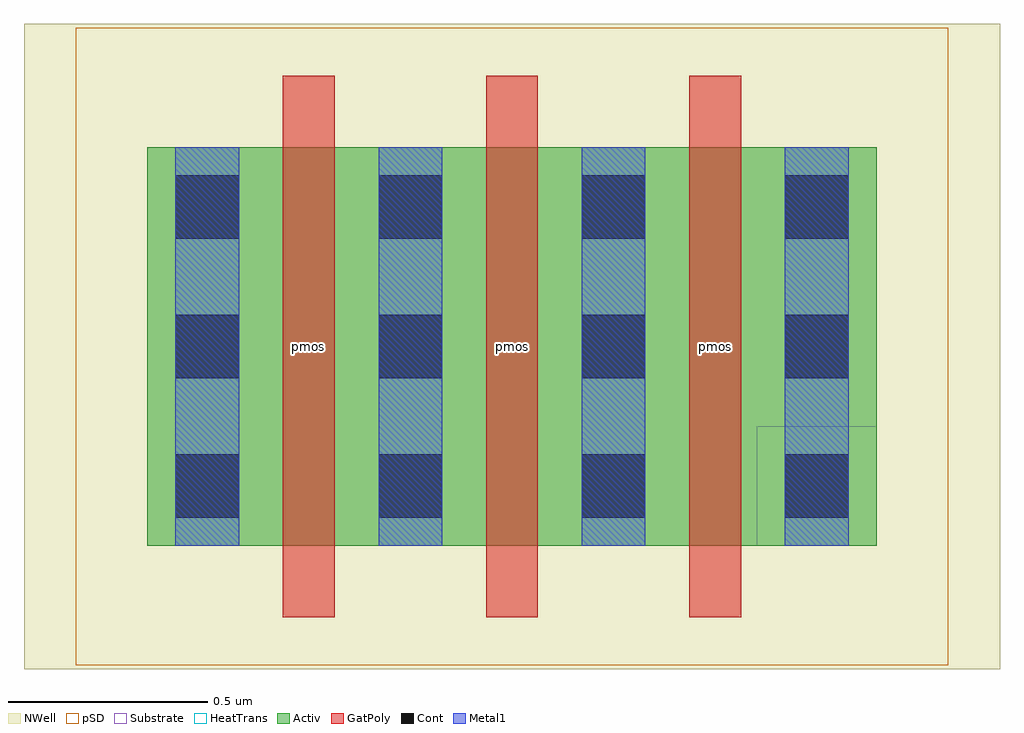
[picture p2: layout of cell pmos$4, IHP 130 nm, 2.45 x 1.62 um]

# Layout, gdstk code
import gdstk
lib = gdstk.Library(unit=1e-6, precision=1e-09)
def R(c, l, rs):  # rectangles x0, y0, x1, y1
    for r in rs: c.add(gdstk.rectangle(r[:2], r[2:], *l))
def A(c, l, x, y, w, h, nx, ny, dx, dy):  # array of equal rectangles
    R(c, l, [(x+i*dx, y+j*dy, x+i*dx+w, y+j*dy+h) for i in range(nx) for j in range(ny)])
Activ = (1, 0)
GatPoly = (5, 0)
Cont = (6, 0)
Metal1 = (8, 0)
pSD = (14, 0)
NWell = (31, 0)
Substrate = (40, 0)
HeatTrans = (51, 0)

pmos_4 = lib.new_cell('pmos$4')
A(pmos_4, Activ, 0, 0, 0.3, 0.3, 4, 1, 0.51, 0)
R(pmos_4, Activ, [(0,0,1.83,1)])
A(pmos_4, GatPoly, 0.34, -0.18, 0.13, 1.36, 3, 1, 0.51, 0)
R(pmos_4, GatPoly, [(0.34,-0.18,0.47,1.18)])
A(pmos_4, Cont, 0.07, 0.07, 0.16, 0.16, 4, 3, 0.51, 0.35)
A(pmos_4, Metal1, 0.58, 0, 0.16, 1, 3, 1, 0.51, 0)
R(pmos_4, Metal1, [(0.07,0,0.23,1), (0.07,0,0.23,1), (0.58,0,0.74,1)])
R(pmos_4, pSD, [(-0.18,-0.3,2.01,1.3)])
R(pmos_4, NWell, [(-0.31,-0.31,2.14,1.31)])
R(pmos_4, Substrate, [(1.53,0,1.83,0.3)])
A(pmos_4, HeatTrans, 0.34, -0.18, 0.13, 1.36, 3, 1, 0.51, 0)
pmos_4.add(gdstk.Label('pmos', (0.405,0.5), layer=63, texttype=0))
pmos_4.add(gdstk.Label('pmos', (0.405,0.5), layer=51, texttype=0))
pmos_4.add(gdstk.Label('pmos', (0.915,0.5), layer=51, texttype=0))
pmos_4.add(gdstk.Label('pmos', (1.425,0.5), layer=51, texttype=0))

lib.write_gds('pmos_4.gds')
